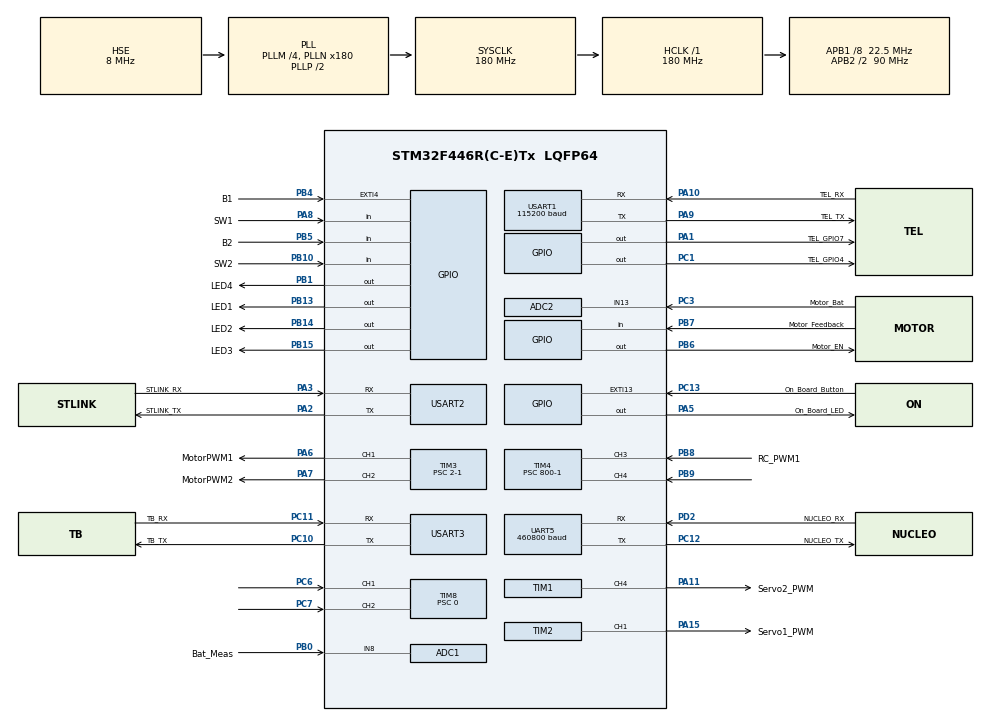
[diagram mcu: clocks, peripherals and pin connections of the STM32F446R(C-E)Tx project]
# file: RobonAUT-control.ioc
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ADC1.Channel-20\#ChannelInjectedConversion=ADC_CHANNEL_8
ADC1.Channel-4\#ChannelRegularConversion=ADC_CHANNEL_8
ADC1.Channel-5\#ChannelRegularConversion=ADC_CHANNEL_8
ADC1.Channel-6\#ChannelRegularConversion=ADC_CHANNEL_8
ADC1.ClockPrescaler=ADC_CLOCK_SYNC_PCLK_DIV6
ADC1.InjNumberOfConversion=1
ADC1.InjectedOffset-20\#ChannelInjectedConversion=0
ADC1.InjectedRank-20\#ChannelInjectedConversion=1
ADC1.NbrOfConversion=3
ADC1.NbrOfConversionFlag=1
ADC1.Rank-4\#ChannelRegularConversion=1
ADC1.Rank-5\#ChannelRegularConversion=2
ADC1.Rank-6\#ChannelRegularConversion=3
ADC1.SamplingTime-20\#ChannelInjectedConversion=ADC_SAMPLETIME_3CYCLES
ADC1.SamplingTime-4\#ChannelRegularConversion=ADC_SAMPLETIME_480CYCLES
ADC1.SamplingTime-5\#ChannelRegularConversion=ADC_SAMPLETIME_480CYCLES
ADC1.SamplingTime-6\#ChannelRegularConversion=ADC_SAMPLETIME_480CYCLES
ADC1.master=1
ADC2.Channel-12\#ChannelRegularConversion=ADC_CHANNEL_13
ADC2.ClockPrescaler=ADC_CLOCK_SYNC_PCLK_DIV6
ADC2.NbrOfConversionFlag=1
ADC2.Rank-12\#ChannelRegularConversion=1
ADC2.SamplingTime-12\#ChannelRegularConversion=ADC_SAMPLETIME_480CYCLES
Dma.Request0=TIM4_CH3
Dma.TIM4_CH3.0.Direction=DMA_PERIPH_TO_MEMORY
Dma.TIM4_CH3.0.FIFOMode=DMA_FIFOMODE_DISABLE
Dma.TIM4_CH3.0.Instance=DMA1_Stream7
Dma.TIM4_CH3.0.MemDataAlignment=DMA_MDATAALIGN_WORD
Dma.TIM4_CH3.0.MemInc=DMA_MINC_ENABLE
Dma.TIM4_CH3.0.Mode=DMA_CIRCULAR
Dma.TIM4_CH3.0.PeriphDataAlignment=DMA_PDATAALIGN_WORD
Dma.TIM4_CH3.0.PeriphInc=DMA_PINC_DISABLE
Dma.TIM4_CH3.0.Priority=DMA_PRIORITY_MEDIUM
Mcu.Family=STM32F4
Mcu.Name=STM32F446R(C-E)Tx
Mcu.Package=LQFP64
NVIC.DMA1_Stream7_IRQn=true\:0\:0\:false\:false\:true\:false\:true\:true
NVIC.EXTI15_10_IRQn=true\:0\:0\:false\:false\:true\:true\:true\:true
NVIC.PriorityGroup=NVIC_PRIORITYGROUP_0
NVIC.TIM2_IRQn=true\:0\:0\:false\:false\:true\:true\:true\:true
NVIC.USART1_IRQn=true\:0\:0\:false\:false\:true\:true\:true\:true
NVIC.USART3_IRQn=true\:0\:0\:false\:false\:true\:true\:true\:true
PA1.GPIO_Label=TEL_GPIO7
PA1.Signal=GPIO_Output
PA10.GPIO_Label=TEL_RX
PA10.Mode=Asynchronous
PA10.Signal=USART1_RX
PA11.GPIO_Label=Servo2_PWM
PA11.Signal=S_TIM1_CH4
PA15.GPIO_Label=Servo1_PWM
PA15.Signal=S_TIM2_CH1_ETR
PA2.GPIO_Label=STLINK_TX
PA2.Mode=Asynchronous
PA2.Signal=USART2_TX
PA3.GPIO_Label=STLINK_RX
PA3.Mode=Asynchronous
PA3.Signal=USART2_RX
PA5.GPIO_Label=On_Board_LED
PA5.Signal=GPIO_Output
PA6.GPIO_Label=MotorPWM1
PA6.Signal=S_TIM3_CH1
PA7.GPIO_Label=MotorPWM2
PA7.Signal=S_TIM3_CH2
PA8.GPIO_Label=SW1
PA8.Signal=GPIO_Input
PA9.GPIO_Label=TEL_TX
PA9.Mode=Asynchronous
PA9.Signal=USART1_TX
PB0.GPIO_Label=Bat_Meas
PB0.Signal=ADCx_IN8
PB1.GPIO_Label=LED4
PB1.Signal=GPIO_Output
PB10.GPIO_Label=SW2
PB10.Signal=GPIO_Input
PB13.GPIO_Label=LED1
PB13.Signal=GPIO_Output
PB14.GPIO_Label=LED2
PB14.Signal=GPIO_Output
PB15.GPIO_Label=LED3
PB15.Signal=GPIO_Output
PB4.GPIO_Label=B1
PB4.GPIO_ModeDefaultEXTI=GPIO_MODE_IT_RISING
PB4.Signal=GPXTI4
PB5.GPIO_Label=B2
PB5.Signal=GPIO_Input
PB6.GPIO_Label=Motor_EN
PB6.Signal=GPIO_Output
PB7.GPIO_Label=Motor_Feedback
PB7.Signal=GPIO_Input
PB8.GPIO_Label=RC_PWM1
PB8.Signal=S_TIM4_CH3
PB9.Signal=S_TIM4_CH4
PC1.GPIO_Label=TEL_GPIO4
PC1.Signal=GPIO_Output
PC10.GPIO_Label=TB_TX
PC10.Mode=Asynchronous
PC10.Signal=USART3_TX
PC11.GPIO_Label=TB_RX
PC11.Mode=Asynchronous
PC11.Signal=USART3_RX
PC12.GPIO_Label=NUCLEO_TX
PC12.Mode=Asynchronous
PC12.Signal=UART5_TX
PC13.GPIO_Label=On_Board_Button
PC13.GPIO_ModeDefaultEXTI=GPIO_MODE_IT_FALLING
PC13.Signal=GPXTI13
PC14-OSC32_IN.Mode=LSE-External-Oscillator
PC14-OSC32_IN.Signal=RCC_OSC32_IN
PC15-OSC32_OUT.Mode=LSE-External-Oscillator
PC15-OSC32_OUT.Signal=RCC_OSC32_OUT
PC3.GPIO_Label=Motor_Bat
PC3.Signal=ADCx_IN13
PC6.Signal=S_TIM8_CH1
PC7.Signal=S_TIM8_CH2
PD2.GPIO_Label=NUCLEO_RX
PD2.Mode=Asynchronous
PD2.Signal=UART5_RX
PH0-OSC_IN.Mode=HSE-External-Oscillator
PH0-OSC_IN.Signal=RCC_OSC_IN
PH1-OSC_OUT.Mode=HSE-External-Oscillator
PH1-OSC_OUT.Signal=RCC_OSC_OUT
ProjectManager.HeapSize=0x200
ProjectManager.StackSize=0x400
ProjectManager.TargetToolchain=STM32CubeIDE
RCC.48MHZClocksFreq_Value=84000000
RCC.AHBFreq_Value=180000000
RCC.APB1CLKDivider=RCC_HCLK_DIV8
RCC.APB1Freq_Value=22500000
RCC.APB1TimFreq_Value=45000000
RCC.APB2CLKDivider=RCC_HCLK_DIV2
RCC.APB2Freq_Value=90000000
RCC.APB2TimFreq_Value=180000000
RCC.CortexFreq_Value=180000000
RCC.FLatency-AdvancedSettings=FLASH_LATENCY_5
RCC.HCLKFreq_Value=180000000
RCC.HSE_VALUE=8000000
RCC.HSI_VALUE=16000000
RCC.PLLM=4
RCC.PLLN=180
RCC.PLLSourceVirtual=RCC_PLLSOURCE_HSE
RCC.SYSCLKFreq_VALUE=180000000
RCC.SYSCLKSource=RCC_SYSCLKSOURCE_PLLCLK
RCC.USBFreq_Value=180000000
RCC.VCOOutputFreq_Value=360000000
SH.ADCx_IN13.0=ADC2_IN13,IN13
SH.ADCx_IN8.0=ADC1_IN8,IN8
SH.S_TIM1_CH4.0=TIM1_CH4,PWM Generation4 CH4
SH.S_TIM2_CH1_ETR.0=TIM2_CH1,PWM Generation1 CH1
SH.S_TIM3_CH1.0=TIM3_CH1,PWM Generation1 CH1
SH.S_TIM3_CH2.0=TIM3_CH2,PWM Generation2 CH2
SH.S_TIM4_CH3.0=TIM4_CH3,Input_Capture3_from_TI3
SH.S_TIM4_CH4.0=TIM4_CH4,Input_Capture4_from_TI4
SH.S_TIM8_CH1.0=TIM8_CH1,Encoder_Interface
SH.S_TIM8_CH2.0=TIM8_CH2,Encoder_Interface
TIM1.AutoReloadPreload=TIM_AUTORELOAD_PRELOAD_ENABLE
TIM1.Channel-PWM\ Generation4\ CH4=TIM_CHANNEL_4
TIM1.Period=10000-1
TIM1.Prescaler=360-1
TIM1.Pulse-PWM\ Generation4\ CH4=750-1
TIM13.AutoReloadPreload=TIM_AUTORELOAD_PRELOAD_ENABLE
TIM13.Prescaler=45000-1
TIM14.AutoReloadPreload=TIM_AUTORELOAD_PRELOAD_ENABLE
TIM14.Period=1000
TIM2.AutoReloadPreload=TIM_AUTORELOAD_PRELOAD_ENABLE
TIM2.Channel-PWM\ Generation1\ CH1=TIM_CHANNEL_1
TIM2.Period=10000-1
TIM2.Prescaler=90-1
TIM2.Pulse-PWM\ Generation1\ CH1=750-1
TIM3.Channel-PWM\ Generation1\ CH1=TIM_CHANNEL_1
TIM3.Channel-PWM\ Generation2\ CH2=TIM_CHANNEL_2
TIM3.CounterMode=TIM_COUNTERMODE_CENTERALIGNED3
TIM3.OCMode_PWM-PWM\ Generation1\ CH1=TIM_OCMODE_PWM1
TIM3.Period=1000-1
TIM3.Prescaler=2-1
TIM3.Pulse-PWM\ Generation1\ CH1=0
TIM3.Pulse-PWM\ Generation2\ CH2=0
TIM4.AutoReloadPreload=TIM_AUTORELOAD_PRELOAD_ENABLE
TIM4.Channel-Input_Capture3_from_TI3=TIM_CHANNEL_3
TIM4.Channel-Input_Capture4_from_TI4=TIM_CHANNEL_4
TIM4.ICPolarity_CH3=TIM_INPUTCHANNELPOLARITY_BOTHEDGE
TIM4.ICPolarity_CH4=TIM_INPUTCHANNELPOLARITY_BOTHEDGE
TIM4.Period=65536-1
TIM4.Prescaler=800-1
TIM5.AutoReloadPreload=TIM_AUTORELOAD_PRELOAD_ENABLE
TIM5.Prescaler=45000-1
TIM8.AutoReloadPreload=TIM_AUTORELOAD_PRELOAD_ENABLE
TIM8.CounterMode=TIM_COUNTERMODE_UP
TIM8.EncoderMode=TIM_ENCODERMODE_TI12
TIM8.IC1Filter=12
TIM8.IC1Polarity=TIM_ICPOLARITY_RISING
TIM8.IC2Filter=12
TIM8.IC2Polarity=TIM_ICPOLARITY_RISING
TIM8.Prescaler=0
UART5.BaudRate=460800
UART5.VirtualMode=Asynchronous
USART1.BaudRate=115200
USART1.VirtualMode=VM_ASYNC
USART2.VirtualMode=VM_ASYNC
USART3.VirtualMode=VM_ASYNC
VP_TIM13_VS_ClockSourceINT.Mode=Enable_Timer
VP_TIM14_VS_ClockSourceINT.Mode=Enable_Timer
VP_TIM1_VS_ClockSourceINT.Mode=Internal
VP_TIM2_VS_ClockSourceINT.Mode=Internal
VP_TIM3_VS_ClockSourceINT.Mode=Internal
VP_TIM4_VS_ClockSourceINT.Mode=Internal
VP_TIM5_VS_ClockSourceINT.Mode=Internal
board=NUCLEO-F446RE

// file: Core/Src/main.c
/* USER CODE BEGIN Header */
/**
  ******************************************************************************
  * @file           : main.c
  * @brief          : Main program body
  ******************************************************************************
  * @attention
  *
  * <h2><center>&copy; Copyright (c) 2022 STMicroelectronics.
  * All rights reserved.</center></h2>
  *
  * This software component is licensed by ST under BSD 3-Clause license,
  * the "License"; You may not use this file except in compliance with the
  * License. You may obtain a copy of the License at:
  *                        opensource.org/licenses/BSD-3-Clause
  *
  ******************************************************************************
  */
/* USER CODE END Header */
#include "main.h"

/* USER CODE BEGIN Includes */
#include <string.h>
#include <stdio.h>
#include "configF4.h"
#include "remote_control.h"
#include "dc_driver.h"
#include "line_track.h"
#include "control.h"

//ebben benne van a string.h-t, ami azért kell, hogy a karaktertömb függvényeket (memset, sprintf) használni tudjam
/* USER CODE END Includes */

ADC_HandleTypeDef hadc1;
ADC_HandleTypeDef hadc2;

TIM_HandleTypeDef htim1;
TIM_HandleTypeDef htim2;
TIM_HandleTypeDef htim3;
TIM_HandleTypeDef htim4;
TIM_HandleTypeDef htim5;
TIM_HandleTypeDef htim8;
TIM_HandleTypeDef htim13;
TIM_HandleTypeDef htim14;
DMA_HandleTypeDef hdma_tim4_ch3;

UART_HandleTypeDef huart5;
UART_HandleTypeDef huart1;
UART_HandleTypeDef huart2;
UART_HandleTypeDef huart3;

/* USER CODE BEGIN PV */
uint8_t motorEnRemote=1; //távirányítós vészstop
uint8_t motorEnLineOk=1; //ha van a kocsi alatt vonal
/* USER CODE END PV */

void SystemClock_Config(void);
static void MX_GPIO_Init(void);
static void MX_DMA_Init(void);
static void MX_TIM2_Init(void);
static void MX_USART1_UART_Init(void);
static void MX_TIM4_Init(void);
static void MX_ADC2_Init(void);
static void MX_TIM3_Init(void);
static void MX_UART5_Init(void);
static void MX_USART2_UART_Init(void);
static void MX_TIM8_Init(void);
static void MX_ADC1_Init(void);
static void MX_USART3_UART_Init(void);
static void MX_TIM5_Init(void);
static void MX_TIM1_Init(void);
static void MX_TIM14_Init(void);
static void MX_TIM13_Init(void);

int main(void)
{

  /* MCU Configuration--------------------------------------------------------*/

  /* Reset of all peripherals, Initializes the Flash interface and the Systick. */
  HAL_Init();

  /* Configure the system clock */
  SystemClock_Config();

  /* Initialize all configured peripherals */
  MX_GPIO_Init();
  MX_DMA_Init();
  MX_TIM2_Init();
  MX_USART1_UART_Init();
  MX_TIM4_Init();
  MX_ADC2_Init();
  MX_TIM3_Init();
  MX_UART5_Init();
  MX_USART2_UART_Init();
  MX_TIM8_Init();
  MX_ADC1_Init();
  MX_USART3_UART_Init();
  MX_TIM5_Init();
  MX_TIM1_Init();
  MX_TIM14_Init();
  MX_TIM13_Init();
  /* USER CODE BEGIN 2 */
  F4_Basic_Init(&huart1, &htim5, &htim3, &htim2, &htim1, &htim8,&htim13,&htim14);
  Remote_Control_Init(&htim4, TIM_CHANNEL_3);
  Battery_Voltage_Compensate(&hadc2, &hadc1, &huart1);

  Mode_Selector(&huart1, &huart5);
  Create_Nodes(&huart1);
  Wait_For_Start_Sigal(&huart3,&huart1);

  //orientation=REVERSE;
  //path=LEFT;
  //v_control=NORMAL_VEL;

  /* USER CODE END 2 */

  /* Infinite loop */
  /* USER CODE BEGIN WHILE */
  while (1)
  {/**/
	  Measure_Velocity_Task(&htim8,TICK, 4);
	  Motor_Drive_Task(&htim3, &huart1, TICK, 10);
	  //Remote_Control_Task(&htim4, TIM_CHANNEL_3, &huart1, TICK, 43);
	  Control_Task(&huart1,&htim14,TICK, 23);
	  Control_Task_2(&huart1,TICK, 23);
	  Line_Track_Task(&huart5, &huart1, TICK, 4);
	  HDI_Read_Task(&huart1,&htim2,TICK, 200);

    /* USER CODE END WHILE */

  }
}

void SystemClock_Config(void)
{
  RCC_OscInitTypeDef RCC_OscInitStruct = {0};
  RCC_ClkInitTypeDef RCC_ClkInitStruct = {0};

  /** Configure the main internal regulator output voltage
  */
  __HAL_RCC_PWR_CLK_ENABLE();
  __HAL_PWR_VOLTAGESCALING_CONFIG(PWR_REGULATOR_VOLTAGE_SCALE1);

  /** Initializes the RCC Oscillators according to the specified parameters
  * in the RCC_OscInitTypeDef structure.
  */
  RCC_OscInitStruct.OscillatorType = RCC_OSCILLATORTYPE_HSE;
  RCC_OscInitStruct.HSEState = RCC_HSE_ON;
  RCC_OscInitStruct.PLL.PLLState = RCC_PLL_ON;
  RCC_OscInitStruct.PLL.PLLSource = RCC_PLLSOURCE_HSE;
  RCC_OscInitStruct.PLL.PLLM = 4;
  RCC_OscInitStruct.PLL.PLLN = 180;
  RCC_OscInitStruct.PLL.PLLP = RCC_PLLP_DIV2;
  RCC_OscInitStruct.PLL.PLLQ = 2;
  RCC_OscInitStruct.PLL.PLLR = 2;
  if (HAL_RCC_OscConfig(&RCC_OscInitStruct) != HAL_OK)
  {
    Error_Handler();
  }

  /** Activate the Over-Drive mode
  */
  if (HAL_PWREx_EnableOverDrive() != HAL_OK)
  {
    Error_Handler();
  }

  /** Initializes the CPU, AHB and APB buses clocks
  */
  RCC_ClkInitStruct.ClockType = RCC_CLOCKTYPE_HCLK|RCC_CLOCKTYPE_SYSCLK
                              |RCC_CLOCKTYPE_PCLK1|RCC_CLOCKTYPE_PCLK2;
  RCC_ClkInitStruct.SYSCLKSource = RCC_SYSCLKSOURCE_PLLCLK;
  RCC_ClkInitStruct.AHBCLKDivider = RCC_SYSCLK_DIV1;
  RCC_ClkInitStruct.APB1CLKDivider = RCC_HCLK_DIV8;
  RCC_ClkInitStruct.APB2CLKDivider = RCC_HCLK_DIV2;

  if (HAL_RCC_ClockConfig(&RCC_ClkInitStruct, FLASH_LATENCY_5) != HAL_OK)
  {
    Error_Handler();
  }
}

static void MX_ADC1_Init(void)
{

  ADC_ChannelConfTypeDef sConfig = {0};
  ADC_InjectionConfTypeDef sConfigInjected = {0};

  /** Configure the global features of the ADC (Clock, Resolution, Data Alignment and number of conversion)
  */
  hadc1.Instance = ADC1;
  hadc1.Init.ClockPrescaler = ADC_CLOCK_SYNC_PCLK_DIV6;
  hadc1.Init.Resolution = ADC_RESOLUTION_12B;
  hadc1.Init.ScanConvMode = ENABLE;
  hadc1.Init.ContinuousConvMode = DISABLE;
  hadc1.Init.DiscontinuousConvMode = DISABLE;
  hadc1.Init.ExternalTrigConvEdge = ADC_EXTERNALTRIGCONVEDGE_NONE;
  hadc1.Init.ExternalTrigConv = ADC_SOFTWARE_START;
  hadc1.Init.DataAlign = ADC_DATAALIGN_RIGHT;
  hadc1.Init.NbrOfConversion = 3;
  hadc1.Init.DMAContinuousRequests = DISABLE;
  hadc1.Init.EOCSelection = ADC_EOC_SINGLE_CONV;
  if (HAL_ADC_Init(&hadc1) != HAL_OK)
  {
    Error_Handler();
  }

  /** Configure for the selected ADC regular channel its corresponding rank in the sequencer and its sample time.
  */
  sConfig.Channel = ADC_CHANNEL_8;
  sConfig.Rank = 1;
  sConfig.SamplingTime = ADC_SAMPLETIME_480CYCLES;
  if (HAL_ADC_ConfigChannel(&hadc1, &sConfig) != HAL_OK)
  {
    Error_Handler();
  }

  /** Configure for the selected ADC regular channel its corresponding rank in the sequencer and its sample time.
  */
  sConfig.Rank = 2;
  if (HAL_ADC_ConfigChannel(&hadc1, &sConfig) != HAL_OK)
  {
    Error_Handler();
  }

  /** Configure for the selected ADC regular channel its corresponding rank in the sequencer and its sample time.
  */
  sConfig.Rank = 3;
  if (HAL_ADC_ConfigChannel(&hadc1, &sConfig) != HAL_OK)
  {
    Error_Handler();
  }

  /** Configures for the selected ADC injected channel its corresponding rank in the sequencer and its sample time
  */
  sConfigInjected.InjectedChannel = ADC_CHANNEL_8;
  sConfigInjected.InjectedRank = 1;
  sConfigInjected.InjectedNbrOfConversion = 1;
  sConfigInjected.InjectedSamplingTime = ADC_SAMPLETIME_3CYCLES;
  sConfigInjected.ExternalTrigInjecConvEdge = ADC_EXTERNALTRIGINJECCONVEDGE_NONE;
  sConfigInjected.ExternalTrigInjecConv = ADC_INJECTED_SOFTWARE_START;
  sConfigInjected.AutoInjectedConv = DISABLE;
  sConfigInjected.InjectedDiscontinuousConvMode = DISABLE;
  sConfigInjected.InjectedOffset = 0;
  if (HAL_ADCEx_InjectedConfigChannel(&hadc1, &sConfigInjected) != HAL_OK)
  {
    Error_Handler();
  }

}

static void MX_ADC2_Init(void)
{

  ADC_ChannelConfTypeDef sConfig = {0};

  /** Configure the global features of the ADC (Clock, Resolution, Data Alignment and number of conversion)
  */
  hadc2.Instance = ADC2;
  hadc2.Init.ClockPrescaler = ADC_CLOCK_SYNC_PCLK_DIV6;
  hadc2.Init.Resolution = ADC_RESOLUTION_12B;
  hadc2.Init.ScanConvMode = DISABLE;
  hadc2.Init.ContinuousConvMode = DISABLE;
  hadc2.Init.DiscontinuousConvMode = DISABLE;
  hadc2.Init.ExternalTrigConvEdge = ADC_EXTERNALTRIGCONVEDGE_NONE;
  hadc2.Init.ExternalTrigConv = ADC_SOFTWARE_START;
  hadc2.Init.DataAlign = ADC_DATAALIGN_RIGHT;
  hadc2.Init.NbrOfConversion = 1;
  hadc2.Init.DMAContinuousRequests = DISABLE;
  hadc2.Init.EOCSelection = ADC_EOC_SINGLE_CONV;
  if (HAL_ADC_Init(&hadc2) != HAL_OK)
  {
    Error_Handler();
  }

  /** Configure for the selected ADC regular channel its corresponding rank in the sequencer and its sample time.
  */
  sConfig.Channel = ADC_CHANNEL_13;
  sConfig.Rank = 1;
  sConfig.SamplingTime = ADC_SAMPLETIME_480CYCLES;
  if (HAL_ADC_ConfigChannel(&hadc2, &sConfig) != HAL_OK)
  {
    Error_Handler();
  }

}

static void MX_TIM1_Init(void)
{

  TIM_ClockConfigTypeDef sClockSourceConfig = {0};
  TIM_MasterConfigTypeDef sMasterConfig = {0};
  TIM_OC_InitTypeDef sConfigOC = {0};
  TIM_BreakDeadTimeConfigTypeDef sBreakDeadTimeConfig = {0};

  htim1.Instance = TIM1;
  htim1.Init.Prescaler = 360-1;
  htim1.Init.CounterMode = TIM_COUNTERMODE_UP;
  htim1.Init.Period = 10000-1;
  htim1.Init.ClockDivision = TIM_CLOCKDIVISION_DIV1;
  htim1.Init.RepetitionCounter = 0;
  htim1.Init.AutoReloadPreload = TIM_AUTORELOAD_PRELOAD_ENABLE;
  if (HAL_TIM_Base_Init(&htim1) != HAL_OK)
  {
    Error_Handler();
  }
  sClockSourceConfig.ClockSource = TIM_CLOCKSOURCE_INTERNAL;
  if (HAL_TIM_ConfigClockSource(&htim1, &sClockSourceConfig) != HAL_OK)
  {
    Error_Handler();
  }
  if (HAL_TIM_PWM_Init(&htim1) != HAL_OK)
  {
    Error_Handler();
  }
  sMasterConfig.MasterOutputTrigger = TIM_TRGO_RESET;
  sMasterConfig.MasterSlaveMode = TIM_MASTERSLAVEMODE_DISABLE;
  if (HAL_TIMEx_MasterConfigSynchronization(&htim1, &sMasterConfig) != HAL_OK)
  {
    Error_Handler();
  }
  sConfigOC.OCMode = TIM_OCMODE_PWM1;
  sConfigOC.Pulse = 750-1;
  sConfigOC.OCPolarity = TIM_OCPOLARITY_HIGH;
  sConfigOC.OCFastMode = TIM_OCFAST_DISABLE;
  sConfigOC.OCIdleState = TIM_OCIDLESTATE_RESET;
  sConfigOC.OCNIdleState = TIM_OCNIDLESTATE_RESET;
  if (HAL_TIM_PWM_ConfigChannel(&htim1, &sConfigOC, TIM_CHANNEL_4) != HAL_OK)
  {
    Error_Handler();
  }
  sBreakDeadTimeConfig.OffStateRunMode = TIM_OSSR_DISABLE;
  sBreakDeadTimeConfig.OffStateIDLEMode = TIM_OSSI_DISABLE;
  sBreakDeadTimeConfig.LockLevel = TIM_LOCKLEVEL_OFF;
  sBreakDeadTimeConfig.DeadTime = 0;
  sBreakDeadTimeConfig.BreakState = TIM_BREAK_DISABLE;
  sBreakDeadTimeConfig.BreakPolarity = TIM_BREAKPOLARITY_HIGH;
  sBreakDeadTimeConfig.AutomaticOutput = TIM_AUTOMATICOUTPUT_DISABLE;
  if (HAL_TIMEx_ConfigBreakDeadTime(&htim1, &sBreakDeadTimeConfig) != HAL_OK)
  {
    Error_Handler();
  }
  HAL_TIM_MspPostInit(&htim1);

}

static void MX_TIM2_Init(void)
{

  TIM_ClockConfigTypeDef sClockSourceConfig = {0};
  TIM_MasterConfigTypeDef sMasterConfig = {0};
  TIM_OC_InitTypeDef sConfigOC = {0};

  htim2.Instance = TIM2;
  htim2.Init.Prescaler = 90-1;
  htim2.Init.CounterMode = TIM_COUNTERMODE_UP;
  htim2.Init.Period = 10000-1;
  htim2.Init.ClockDivision = TIM_CLOCKDIVISION_DIV1;
  htim2.Init.AutoReloadPreload = TIM_AUTORELOAD_PRELOAD_ENABLE;
  if (HAL_TIM_Base_Init(&htim2) != HAL_OK)
  {
    Error_Handler();
  }
  sClockSourceConfig.ClockSource = TIM_CLOCKSOURCE_INTERNAL;
  if (HAL_TIM_ConfigClockSource(&htim2, &sClockSourceConfig) != HAL_OK)
  {
    Error_Handler();
  }
  if (HAL_TIM_PWM_Init(&htim2) != HAL_OK)
  {
    Error_Handler();
  }
  sMasterConfig.MasterOutputTrigger = TIM_TRGO_RESET;
  sMasterConfig.MasterSlaveMode = TIM_MASTERSLAVEMODE_DISABLE;
  if (HAL_TIMEx_MasterConfigSynchronization(&htim2, &sMasterConfig) != HAL_OK)
  {
    Error_Handler();
  }
  sConfigOC.OCMode = TIM_OCMODE_PWM1;
  sConfigOC.Pulse = 750-1;
  sConfigOC.OCPolarity = TIM_OCPOLARITY_HIGH;
  sConfigOC.OCFastMode = TIM_OCFAST_DISABLE;
  if (HAL_TIM_PWM_ConfigChannel(&htim2, &sConfigOC, TIM_CHANNEL_1) != HAL_OK)
  {
    Error_Handler();
  }
  HAL_TIM_MspPostInit(&htim2);

}

static void MX_TIM3_Init(void)
{

  TIM_ClockConfigTypeDef sClockSourceConfig = {0};
  TIM_MasterConfigTypeDef sMasterConfig = {0};
  TIM_OC_InitTypeDef sConfigOC = {0};

  htim3.Instance = TIM3;
  htim3.Init.Prescaler = 2-1;
  htim3.Init.CounterMode = TIM_COUNTERMODE_CENTERALIGNED3;
  htim3.Init.Period = 1000-1;
  htim3.Init.ClockDivision = TIM_CLOCKDIVISION_DIV1;
  htim3.Init.AutoReloadPreload = TIM_AUTORELOAD_PRELOAD_DISABLE;
  if (HAL_TIM_Base_Init(&htim3) != HAL_OK)
  {
    Error_Handler();
  }
  sClockSourceConfig.ClockSource = TIM_CLOCKSOURCE_INTERNAL;
  if (HAL_TIM_ConfigClockSource(&htim3, &sClockSourceConfig) != HAL_OK)
  {
    Error_Handler();
  }
  if (HAL_TIM_PWM_Init(&htim3) != HAL_OK)
  {
    Error_Handler();
  }
  sMasterConfig.MasterOutputTrigger = TIM_TRGO_RESET;
  sMasterConfig.MasterSlaveMode = TIM_MASTERSLAVEMODE_DISABLE;
  if (HAL_TIMEx_MasterConfigSynchronization(&htim3, &sMasterConfig) != HAL_OK)
  {
    Error_Handler();
  }
  sConfigOC.OCMode = TIM_OCMODE_PWM1;
  sConfigOC.Pulse = 0;
  sConfigOC.OCPolarity = TIM_OCPOLARITY_HIGH;
  sConfigOC.OCFastMode = TIM_OCFAST_DISABLE;
  if (HAL_TIM_PWM_ConfigChannel(&htim3, &sConfigOC, TIM_CHANNEL_1) != HAL_OK)
  {
    Error_Handler();
  }
  if (HAL_TIM_PWM_ConfigChannel(&htim3, &sConfigOC, TIM_CHANNEL_2) != HAL_OK)
  {
    Error_Handler();
  }
  HAL_TIM_MspPostInit(&htim3);

}

static void MX_TIM4_Init(void)
{

  TIM_ClockConfigTypeDef sClockSourceConfig = {0};
  TIM_MasterConfigTypeDef sMasterConfig = {0};
  TIM_IC_InitTypeDef sConfigIC = {0};

  htim4.Instance = TIM4;
  htim4.Init.Prescaler = 800-1;
  htim4.Init.CounterMode = TIM_COUNTERMODE_UP;
  htim4.Init.Period = 65536-1;
  htim4.Init.ClockDivision = TIM_CLOCKDIVISION_DIV1;
  htim4.Init.AutoReloadPreload = TIM_AUTORELOAD_PRELOAD_ENABLE;
  if (HAL_TIM_Base_Init(&htim4) != HAL_OK)
  {
    Error_Handler();
  }
  sClockSourceConfig.ClockSource = TIM_CLOCKSOURCE_INTERNAL;
  if (HAL_TIM_ConfigClockSource(&htim4, &sClockSourceConfig) != HAL_OK)
  {
    Error_Handler();
  }
  if (HAL_TIM_IC_Init(&htim4) != HAL_OK)
  {
    Error_Handler();
  }
  sMasterConfig.MasterOutputTrigger = TIM_TRGO_RESET;
  sMasterConfig.MasterSlaveMode = TIM_MASTERSLAVEMODE_DISABLE;
  if (HAL_TIMEx_MasterConfigSynchronization(&htim4, &sMasterConfig) != HAL_OK)
  {
    Error_Handler();
  }
  sConfigIC.ICPolarity = TIM_INPUTCHANNELPOLARITY_BOTHEDGE;
  sConfigIC.ICSelection = TIM_ICSELECTION_DIRECTTI;
  sConfigIC.ICPrescaler = TIM_ICPSC_DIV1;
  sConfigIC.ICFilter = 0;
  if (HAL_TIM_IC_ConfigChannel(&htim4, &sConfigIC, TIM_CHANNEL_3) != HAL_OK)
  {
    Error_Handler();
  }
  if (HAL_TIM_IC_ConfigChannel(&htim4, &sConfigIC, TIM_CHANNEL_4) != HAL_OK)
  {
    Error_Handler();
  }

}

static void MX_TIM5_Init(void)
{

  TIM_ClockConfigTypeDef sClockSourceConfig = {0};
  TIM_MasterConfigTypeDef sMasterConfig = {0};

  htim5.Instance = TIM5;
  htim5.Init.Prescaler = 45000-1;
  htim5.Init.CounterMode = TIM_COUNTERMODE_UP;
  htim5.Init.Period = 4294967295;
  htim5.Init.ClockDivision = TIM_CLOCKDIVISION_DIV1;
  htim5.Init.AutoReloadPreload = TIM_AUTORELOAD_PRELOAD_ENABLE;
  if (HAL_TIM_Base_Init(&htim5) != HAL_OK)
  {
    Error_Handler();
  }
  sClockSourceConfig.ClockSource = TIM_CLOCKSOURCE_INTERNAL;
  if (HAL_TIM_ConfigClockSource(&htim5, &sClockSourceConfig) != HAL_OK)
  {
    Error_Handler();
  }
  sMasterConfig.MasterOutputTrigger = TIM_TRGO_RESET;
  sMasterConfig.MasterSlaveMode = TIM_MASTERSLAVEMODE_DISABLE;
  if (HAL_TIMEx_MasterConfigSynchronization(&htim5, &sMasterConfig) != HAL_OK)
  {
    Error_Handler();
  }

}

static void MX_TIM8_Init(void)
{

  TIM_Encoder_InitTypeDef sConfig = {0};
  TIM_MasterConfigTypeDef sMasterConfig = {0};

  htim8.Instance = TIM8;
  htim8.Init.Prescaler = 0;
  htim8.Init.CounterMode = TIM_COUNTERMODE_UP;
  htim8.Init.Period = 65535;
  htim8.Init.ClockDivision = TIM_CLOCKDIVISION_DIV1;
  htim8.Init.RepetitionCounter = 0;
  htim8.Init.AutoReloadPreload = TIM_AUTORELOAD_PRELOAD_ENABLE;
  sConfig.EncoderMode = TIM_ENCODERMODE_TI12;
  sConfig.IC1Polarity = TIM_ICPOLARITY_RISING;
  sConfig.IC1Selection = TIM_ICSELECTION_DIRECTTI;
  sConfig.IC1Prescaler = TIM_ICPSC_DIV1;
  sConfig.IC1Filter = 12;
  sConfig.IC2Polarity = TIM_ICPOLARITY_RISING;
  sConfig.IC2Selection = TIM_ICSELECTION_DIRECTTI;
  sConfig.IC2Prescaler = TIM_ICPSC_DIV1;
  sConfig.IC2Filter = 12;
  if (HAL_TIM_Encoder_Init(&htim8, &sConfig) != HAL_OK)
  {
    Error_Handler();
  }
  sMasterConfig.MasterOutputTrigger = TIM_TRGO_RESET;
  sMasterConfig.MasterSlaveMode = TIM_MASTERSLAVEMODE_DISABLE;
  if (HAL_TIMEx_MasterConfigSynchronization(&htim8, &sMasterConfig) != HAL_OK)
  {
    Error_Handler();
  }

}

static void MX_TIM13_Init(void)
{

  htim13.Instance = TIM13;
  htim13.Init.Prescaler = 45000-1;
  htim13.Init.CounterMode = TIM_COUNTERMODE_UP;
  htim13.Init.Period = 65535;
  htim13.Init.ClockDivision = TIM_CLOCKDIVISION_DIV1;
  htim13.Init.AutoReloadPreload = TIM_AUTORELOAD_PRELOAD_ENABLE;
  if (HAL_TIM_Base_Init(&htim13) != HAL_OK)
  {
    Error_Handler();
  }

}

static void MX_TIM14_Init(void)
{

  htim14.Instance = TIM14;
  htim14.Init.Prescaler = 0;
  htim14.Init.CounterMode = TIM_COUNTERMODE_UP;
  htim14.Init.Period = 1000;
  htim14.Init.ClockDivision = TIM_CLOCKDIVISION_DIV1;
  htim14.Init.AutoReloadPreload = TIM_AUTORELOAD_PRELOAD_ENABLE;
  if (HAL_TIM_Base_Init(&htim14) != HAL_OK)
  {
    Error_Handler();
  }

}

static void MX_UART5_Init(void)
{

  huart5.Instance = UART5;
  huart5.Init.BaudRate = 460800;
  huart5.Init.WordLength = UART_WORDLENGTH_8B;
  huart5.Init.StopBits = UART_STOPBITS_1;
  huart5.Init.Parity = UART_PARITY_NONE;
  huart5.Init.Mode = UART_MODE_TX_RX;
  huart5.Init.HwFlowCtl = UART_HWCONTROL_NONE;
  huart5.Init.OverSampling = UART_OVERSAMPLING_16;
  if (HAL_UART_Init(&huart5) != HAL_OK)
  {
    Error_Handler();
  }

}

static void MX_USART1_UART_Init(void)
{

  huart1.Instance = USART1;
  huart1.Init.BaudRate = 115200;
  huart1.Init.WordLength = UART_WORDLENGTH_8B;
  huart1.Init.StopBits = UART_STOPBITS_1;
  huart1.Init.Parity = UART_PARITY_NONE;
  huart1.Init.Mode = UART_MODE_TX_RX;
  huart1.Init.HwFlowCtl = UART_HWCONTROL_NONE;
  huart1.Init.OverSampling = UART_OVERSAMPLING_16;
  if (HAL_UART_Init(&huart1) != HAL_OK)
  {
    Error_Handler();
  }

}

static void MX_USART2_UART_Init(void)
{

  huart2.Instance = USART2;
  huart2.Init.BaudRate = 115200;
  huart2.Init.WordLength = UART_WORDLENGTH_8B;
  huart2.Init.StopBits = UART_STOPBITS_1;
  huart2.Init.Parity = UART_PARITY_NONE;
  huart2.Init.Mode = UART_MODE_TX_RX;
  huart2.Init.HwFlowCtl = UART_HWCONTROL_NONE;
  huart2.Init.OverSampling = UART_OVERSAMPLING_16;
  if (HAL_UART_Init(&huart2) != HAL_OK)
  {
    Error_Handler();
  }

}

static void MX_USART3_UART_Init(void)
{

  huart3.Instance = USART3;
  huart3.Init.BaudRate = 115200;
  huart3.Init.WordLength = UART_WORDLENGTH_8B;
  huart3.Init.StopBits = UART_STOPBITS_1;
  huart3.Init.Parity = UART_PARITY_NONE;
  huart3.Init.Mode = UART_MODE_TX_RX;
  huart3.Init.HwFlowCtl = UART_HWCONTROL_NONE;
  huart3.Init.OverSampling = UART_OVERSAMPLING_16;
  if (HAL_UART_Init(&huart3) != HAL_OK)
  {
    Error_Handler();
  }

}

static void MX_DMA_Init(void)
{

  /* DMA controller clock enable */
  __HAL_RCC_DMA1_CLK_ENABLE();

  /* DMA interrupt init */
  /* DMA1_Stream7_IRQn interrupt configuration */
  HAL_NVIC_SetPriority(DMA1_Stream7_IRQn, 0, 0);
  HAL_NVIC_EnableIRQ(DMA1_Stream7_IRQn);

}

static void MX_GPIO_Init(void)
{
  GPIO_InitTypeDef GPIO_InitStruct = {0};

  /* GPIO Ports Clock Enable */
  __HAL_RCC_GPIOC_CLK_ENABLE();
  __HAL_RCC_GPIOH_CLK_ENABLE();
  __HAL_RCC_GPIOA_CLK_ENABLE();
  __HAL_RCC_GPIOB_CLK_ENABLE();
  __HAL_RCC_GPIOD_CLK_ENABLE();

  /*Configure GPIO pin Output Level */
  HAL_GPIO_WritePin(TEL_GPIO4_GPIO_Port, TEL_GPIO4_Pin, GPIO_PIN_RESET);

  /*Configure GPIO pin Output Level */
  HAL_GPIO_WritePin(GPIOA, TEL_GPIO7_Pin|On_Board_LED_Pin, GPIO_PIN_RESET);

  /*Configure GPIO pin Output Level */
  HAL_GPIO_WritePin(GPIOB, LED4_Pin|LED1_Pin|LED2_Pin|LED3_Pin
                          |Motor_EN_Pin, GPIO_PIN_RESET);

  /*Configure GPIO pin : On_Board_Button_Pin */
  GPIO_InitStruct.Pin = On_Board_Button_Pin;
  GPIO_InitStruct.Mode = GPIO_MODE_IT_FALLING;
  GPIO_InitStruct.Pull = GPIO_NOPULL;
  HAL_GPIO_Init(On_Board_Button_GPIO_Port, &GPIO_InitStruct);

  /*Configure GPIO pin : TEL_GPIO4_Pin */
  GPIO_InitStruct.Pin = TEL_GPIO4_Pin;
  GPIO_InitStruct.Mode = GPIO_MODE_OUTPUT_PP;
  GPIO_InitStruct.Pull = GPIO_NOPULL;
  GPIO_InitStruct.Speed = GPIO_SPEED_FREQ_LOW;
  HAL_GPIO_Init(TEL_GPIO4_GPIO_Port, &GPIO_InitStruct);

  /*Configure GPIO pins : TEL_GPIO7_Pin On_Board_LED_Pin */
  GPIO_InitStruct.Pin = TEL_GPIO7_Pin|On_Board_LED_Pin;
  GPIO_InitStruct.Mode = GPIO_MODE_OUTPUT_PP;
  GPIO_InitStruct.Pull = GPIO_NOPULL;
  GPIO_InitStruct.Speed = GPIO_SPEED_FREQ_LOW;
  HAL_GPIO_Init(GPIOA, &GPIO_InitStruct);

  /*Configure GPIO pins : LED4_Pin LED1_Pin LED2_Pin LED3_Pin
                           Motor_EN_Pin */
  GPIO_InitStruct.Pin = LED4_Pin|LED1_Pin|LED2_Pin|LED3_Pin
                          |Motor_EN_Pin;
  GPIO_InitStruct.Mode = GPIO_MODE_OUTPUT_PP;
  GPIO_InitStruct.Pull = GPIO_NOPULL;
  GPIO_InitStruct.Speed = GPIO_SPEED_FREQ_LOW;
  HAL_GPIO_Init(GPIOB, &GPIO_InitStruct);

  /*Configure GPIO pins : SW2_Pin B2_Pin Motor_Feedback_Pin */
  GPIO_InitStruct.Pin = SW2_Pin|B2_Pin|Motor_Feedback_Pin;
  GPIO_InitStruct.Mode = GPIO_MODE_INPUT;
  GPIO_InitStruct.Pull = GPIO_NOPULL;
  HAL_GPIO_Init(GPIOB, &GPIO_InitStruct);

  /*Configure GPIO pin : SW1_Pin */
  GPIO_InitStruct.Pin = SW1_Pin;
  GPIO_InitStruct.Mode = GPIO_MODE_INPUT;
  GPIO_InitStruct.Pull = GPIO_NOPULL;
  HAL_GPIO_Init(SW1_GPIO_Port, &GPIO_InitStruct);

  /*Configure GPIO pin : B1_Pin */
  GPIO_InitStruct.Pin = B1_Pin;
  GPIO_InitStruct.Mode = GPIO_MODE_IT_RISING;
  GPIO_InitStruct.Pull = GPIO_NOPULL;
  HAL_GPIO_Init(B1_GPIO_Port, &GPIO_InitStruct);

  /* EXTI interrupt init*/
  HAL_NVIC_SetPriority(EXTI15_10_IRQn, 0, 0);
  HAL_NVIC_EnableIRQ(EXTI15_10_IRQn);

}

/* USER CODE BEGIN 4 */
void HAL_GPIO_EXTI_Callback(uint16_t GPIO_Pin)
{
	//ha meg lett nyomva a nucleon a kék gomb
	if(GPIO_Pin == On_Board_Button_Pin)
	{
		B1_ISR;
		B_NUCLEO_ISR(&huart1);

	}
	//if(GPIO_Pin == B1_Pin) B1_ISR(&huart1);
}

void HAL_UART_RxCpltCallback(UART_HandleTypeDef *huart)
{
	if(huart == &huart1)Uart_Receive_From_PC_ISR(&huart1);
	else if(huart==&huart3)Uart_Receive_Thunderboard_ISR(&huart3, &huart1);
}

void Delay(uint16_t ms)
{
	TIM13->CNT=0;
	while(1)
	{
		if(__HAL_TIM_GET_COUNTER(&htim13)>ms)break;
	}

}

/* USER CODE END 4 */

void Error_Handler(void)
{
  /* USER CODE BEGIN Error_Handler_Debug */
  /* User can add his own implementation to report the HAL error return state */
  __disable_irq();
  TIM3->CCR1=499;
  TIM3->CCR2=499;
  LED_B(1);
  LED_G(1);
  LED_R(1);
  LED_Y(1);
  while (1)
  {
  }
  /* USER CODE END Error_Handler_Debug */
}
